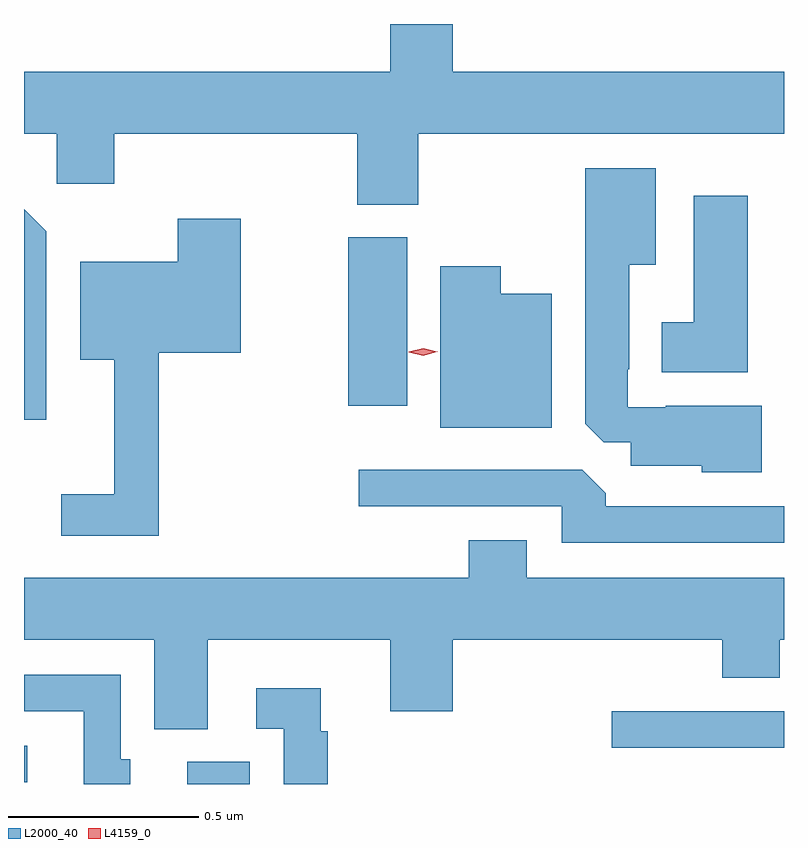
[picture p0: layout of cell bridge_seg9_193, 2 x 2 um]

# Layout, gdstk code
import gdstk
lib = gdstk.Library(unit=1e-6, precision=1e-09)
def R(c, l, rs):  # rectangles x0, y0, x1, y1
    for r in rs: c.add(gdstk.rectangle(r[:2], r[2:], *l))
def P(c, l, *ps):  # polygons
    for p in ps: c.add(gdstk.Polygon(p, *l))
L2000_40 = (2000, 40)
L4159_0 = (4159, 0)

bridge_seg9_193 = lib.new_cell('bridge_seg9_193')
R(bridge_seg9_193, L2000_40, [(212.426,1202.701,212.59,1202.76), (211.996,1202.706,212.005,1202.802), (213.543,1202.796,213.996,1202.892), (212.849,1203.696,213.004,1204.14)])
P(bridge_seg9_193, L2000_40, [(213.033,1204.412),(213.996,1204.412),(213.996,1204.576),(213.124,1204.576),(213.124,1204.701),(212.96,1204.701),(212.96,1204.576),(211.996,1204.576),(211.996,1204.412),(212.082,1204.412),(212.082,1204.281),(212.234,1204.281),(212.234,1204.412),(212.873,1204.412),(212.873,1204.225),(213.033,1204.225)],
  [(213.937,1203.697),(213.685,1203.697),(213.685,1203.693),(213.585,1203.693),(213.585,1203.793),(213.589,1203.793),(213.589,1204.067),(213.658,1204.067),(213.658,1204.321),(213.473,1204.321),(213.473,1203.649),(213.522,1203.6),(213.593,1203.6),(213.593,1203.539),(213.78,1203.539),(213.78,1203.521),(213.937,1203.521)],
  [(213.901,1204.249),(213.758,1204.249),(213.758,1203.916),(213.674,1203.916),(213.674,1203.785),(213.901,1203.785)],
  [(212.055,1204.155),(211.996,1204.214),(211.996,1203.66),(212.055,1203.66)],
  [(212.351,1203.836),(212.566,1203.836),(212.566,1204.189),(212.401,1204.189),(212.401,1204.075),(212.144,1204.075),(212.144,1203.818),(212.234,1203.818),(212.234,1203.463),(212.094,1203.463),(212.094,1203.354),(212.351,1203.354)],
  [(213.385,1203.991),(213.25,1203.991),(213.25,1204.063),(213.092,1204.063),(213.092,1203.638),(213.385,1203.638)],
  [(213.996,1203.432),(213.527,1203.432),(213.527,1203.466),(213.465,1203.528),(212.877,1203.528),(212.877,1203.432),(213.411,1203.432),(213.411,1203.336),(213.996,1203.336)],
  [(212.479,1203.08),(212.96,1203.08),(212.96,1202.892),(213.124,1202.892),(213.124,1203.08),(213.833,1203.08),(213.833,1202.981),(213.985,1202.981),(213.985,1203.08),(213.996,1203.08),(213.996,1203.244),(213.319,1203.244),(213.319,1203.343),(213.167,1203.343),(213.167,1203.244),(211.996,1203.244),(211.996,1203.08),(212.339,1203.08),(212.339,1202.845),(212.479,1202.845)],
  [(212.275,1202.766),(212.25,1202.766),(212.25,1202.988),(211.996,1202.988),(211.996,1202.892),(212.153,1202.892),(212.153,1202.701),(212.275,1202.701)],
  [(212.795,1202.84),(212.777,1202.84),(212.777,1202.953),(212.607,1202.953),(212.607,1202.847),(212.679,1202.847),(212.679,1202.701),(212.795,1202.701)])
P(bridge_seg9_193, L4159_0, [(213.046,1203.828),(213.008,1203.837),(213.008,1203.838),(213.008,1203.838),(213.046,1203.848),(213.084,1203.838),(213.085,1203.838),(213.084,1203.838)])

lib.write_gds('bridge_seg9_193.gds')
